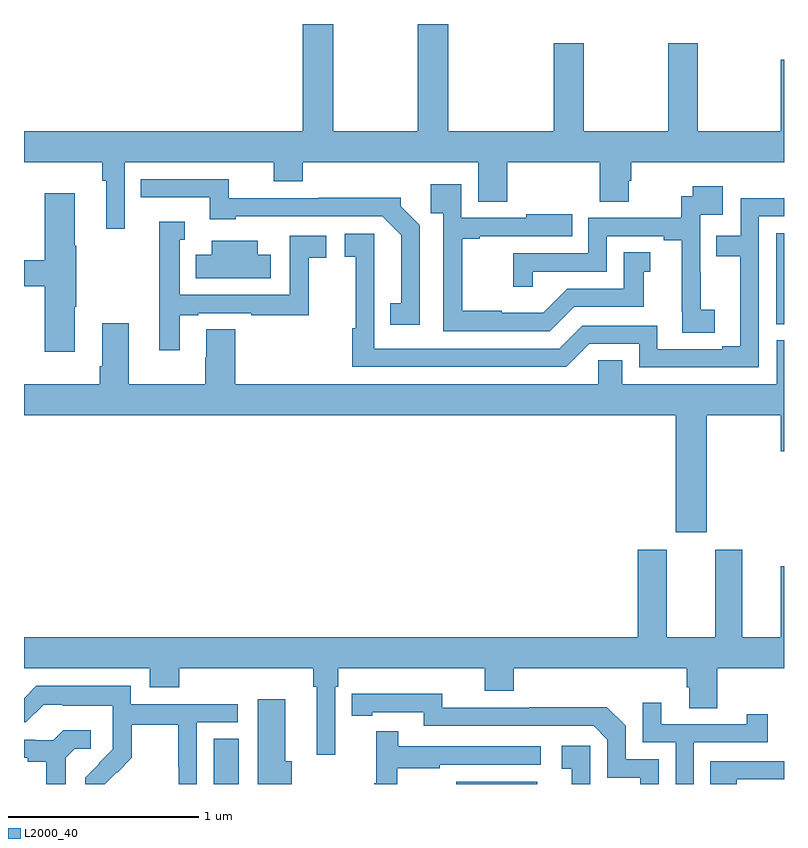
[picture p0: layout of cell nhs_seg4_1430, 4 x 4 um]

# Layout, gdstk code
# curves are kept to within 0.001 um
import gdstk
lib = gdstk.Library(unit=1e-6, precision=1e-09)
def R(c, l, rs):  # rectangles x0, y0, x1, y1
    for r in rs: c.add(gdstk.rectangle(r[:2], r[2:], *l))
def P(c, l, *ps):  # polygons
    for p in ps: c.add(gdstk.Polygon(p, *l))
L2000_40 = (2000, 40)

nhs_seg4_1430 = lib.new_cell('nhs_seg4_1430')
R(nhs_seg4_1430, L2000_40, [(185.999,774.9,186.13,775.139), (187.275,774.9,187.702,774.913), (188.958,777.321,189,777.798), (187.994,778.898,188.344,778.9)])
P(nhs_seg4_1430, L2000_40, [(185.529,778.172),(186.314,778.172),(186.314,778.073),(186.467,778.073),(186.467,778.172),(187.391,778.172),(187.391,777.964),(187.544,777.964),(187.544,778.172),(188.03,778.172),(188.03,777.964),(188.182,777.964),(188.182,778.074),(188.195,778.074),(188.195,778.172),(189,778.172),(189,778.711),(188.984,778.711),(188.984,778.336),(188.547,778.336),(188.547,778.798),(188.392,778.798),(188.392,778.336),(187.947,778.336),(187.947,778.798),(187.787,778.798),(187.787,778.336),(187.232,778.336),(187.232,778.9),(187.072,778.9),(187.072,778.336),(186.627,778.336),(186.627,778.9),(186.467,778.9),(186.467,778.336),(185,778.336),(185,778.172),(185.413,778.172),(185.413,778.076),(185.432,778.076),(185.432,777.822),(185.529,777.822)],
  [(187.083,777.842),(186.984,777.941),(186.984,777.986),(186.55,777.986),(186.55,777.984),(186.078,777.984),(186.078,778.083),(185.614,778.083),(185.614,777.987),(185.978,777.987),(185.978,777.872),(186.114,777.872),(186.114,777.888),(186.885,777.888),(186.986,777.787),(186.986,777.431),(186.928,777.431),(186.928,777.318),(187.083,777.318)],
  [(187.896,777.411),(188.263,777.411),(188.263,777.595),(188.296,777.595),(188.296,777.698),(188.156,777.698),(188.156,777.507),(187.86,777.507),(187.732,777.379),(187.514,777.379),(187.514,777.391),(187.307,777.391),(187.307,777.771),(187.399,777.771),(187.399,777.783),(187.886,777.783),(187.886,777.898),(187.643,777.898),(187.643,777.879),(187.302,777.879),(187.302,778.057),(187.141,778.057),(187.141,777.905),(187.206,777.905),(187.206,777.282),(187.767,777.282)],
  [(188.635,777.396),(188.561,777.396),(188.561,777.593),(188.559,777.593),(188.559,777.897),(188.677,777.897),(188.677,778.045),(188.521,778.045),(188.521,777.993),(188.458,777.993),(188.458,777.879),(187.971,777.879),(187.971,777.693),(187.576,777.693),(187.576,777.516),(187.677,777.516),(187.677,777.597),(188.067,777.597),(188.067,777.783),(188.366,777.783),(188.366,777.763),(188.462,777.763),(188.462,777.385),(188.464,777.385),(188.464,777.274),(188.635,777.274)],
  [(185.266,777.412),(185.274,777.412),(185.274,777.733),(185.266,777.733),(185.266,778.009),(185.108,778.009),(185.108,777.656),(185,777.656),(185,777.52),(185.108,777.52),(185.108,777.174),(185.266,777.174)],
  [(188.868,777.888),(189,777.888),(189,777.984),(188.772,777.984),(188.772,777.786),(188.644,777.786),(188.644,777.678),(188.771,777.678),(188.771,777.204),(188.675,777.204),(188.675,777.189),(188.334,777.189),(188.334,777.312),(187.938,777.312),(187.818,777.192),(186.843,777.192),(186.844,777.796),(186.687,777.796),(186.687,777.675),(186.745,777.675),(186.745,777.299),(186.727,777.299),(186.727,777.096),(187.854,777.096),(187.974,777.216),(188.238,777.216),(188.238,777.093),(188.868,777.093)],
  [(185.821,777.366),(185.917,777.366),(185.917,777.378),(186.196,777.378),(186.196,777.366),(186.498,777.366),(186.498,777.67),(186.592,777.67),(186.592,777.786),(186.399,777.786),(186.399,777.474),(185.82,777.474),(185.82,777.765),(185.845,777.765),(185.845,777.859),(185.712,777.859),(185.712,777.427),(185.711,777.427),(185.711,777.183),(185.821,777.183)],
  [(186.298,777.685),(186.229,777.685),(186.229,777.76),(185.987,777.76),(185.987,777.685),(185.905,777.685),(185.905,777.563),(186.298,777.563)],
  [(188.593,776.84),(188.984,776.84),(188.984,776.652),(189,776.652),(189,777.236),(188.963,777.236),(188.963,777.004),(188.149,777.004),(188.149,777.131),(188.022,777.131),(188.022,777.004),(186.113,777.004),(186.113,777.293),(185.96,777.293),(185.96,777.143),(185.953,777.143),(185.953,777.004),(185.551,777.004),(185.551,777.325),(185.411,777.325),(185.411,777.1),(185.399,777.1),(185.399,777.004),(185,777.004),(185,776.84),(188.429,776.84),(188.429,776.226),(188.593,776.226)],
  [(186.639,775.412),(186.653,775.412),(186.653,775.508),(187.424,775.508),(187.424,775.391),(187.577,775.391),(187.577,775.508),(188.489,775.508),(188.489,775.41),(188.501,775.41),(188.501,775.3),(188.649,775.3),(188.649,775.508),(189,775.508),(189,776.047),(188.984,776.047),(188.984,775.672),(188.779,775.672),(188.779,776.134),(188.639,776.134),(188.639,775.672),(188.383,775.672),(188.383,776.134),(188.231,776.134),(188.231,775.672),(185,775.672),(185,775.508),(185.663,775.508),(185.663,775.409),(185.816,775.409),(185.816,775.508),(186.523,775.508),(186.523,775.412),(186.542,775.412),(186.542,775.053),(186.639,775.053)],
  [(185.487,774.963),(185.49,774.96),(185.567,775.037),(185.567,775.212),(185.812,775.212),(185.812,774.988),(185.814,774.988),(185.814,774.9),(185.91,774.9),(185.91,775.224),(186.124,775.224),(186.124,775.32),(185.562,775.32),(185.562,775.417),(185.065,775.417),(185,775.352),(185,775.224),(185.01,775.224),(185.103,775.317),(185.203,775.317),(185.203,775.313),(185.466,775.313),(185.466,775.179),(185.468,775.179),(185.468,775.082),(185.322,774.934),(185.322,774.9),(185.424,774.9)],
  [(188.34,775.029),(188.166,775.029),(188.166,775.206),(188.068,775.304),(187.66,775.304),(187.66,775.302),(187.2,775.302),(187.2,775.375),(186.724,775.374),(186.724,775.258),(186.832,775.258),(186.832,775.278),(187.104,775.278),(187.104,775.206),(187.998,775.206),(188.07,775.134),(188.07,774.933),(188.243,774.933),(188.243,774.9),(188.34,774.9)],
  [(186.409,775.021),(186.376,775.021),(186.376,775.345),(186.23,775.345),(186.23,774.9),(186.409,774.9)],
  [(188.526,775.119),(188.915,775.119),(188.915,775.267),(188.804,775.267),(188.804,775.215),(188.353,775.215),(188.353,775.327),(188.256,775.327),(188.256,775.119),(188.43,775.119),(188.43,774.9),(188.526,774.9)],
  [(185.221,775.039),(185.268,775.086),(185.35,775.086),(185.35,775.183),(185.206,775.183),(185.154,775.131),(185.06,775.131),(185.06,775.134),(185,775.134),(185,775.038),(185.021,775.038),(185.021,775.016),(185.117,775.016),(185.117,774.9),(185.221,774.9)],
  [(186.964,774.982),(187.187,774.982),(187.187,775.002),(187.72,775.002),(187.72,775.098),(186.971,775.098),(186.971,775.177),(186.854,775.177),(186.854,774.905),(186.843,774.905),(186.843,774.9),(186.964,774.9)],
  [(187.98,775.102),(187.83,775.102),(187.83,774.981),(187.883,774.981),(187.883,774.9),(187.98,774.9)],
  [(188.751,774.924),(189,774.924),(189,775.02),(188.611,775.02),(188.611,774.9),(188.751,774.9)])

lib.write_gds('nhs_seg4_1430.gds')
